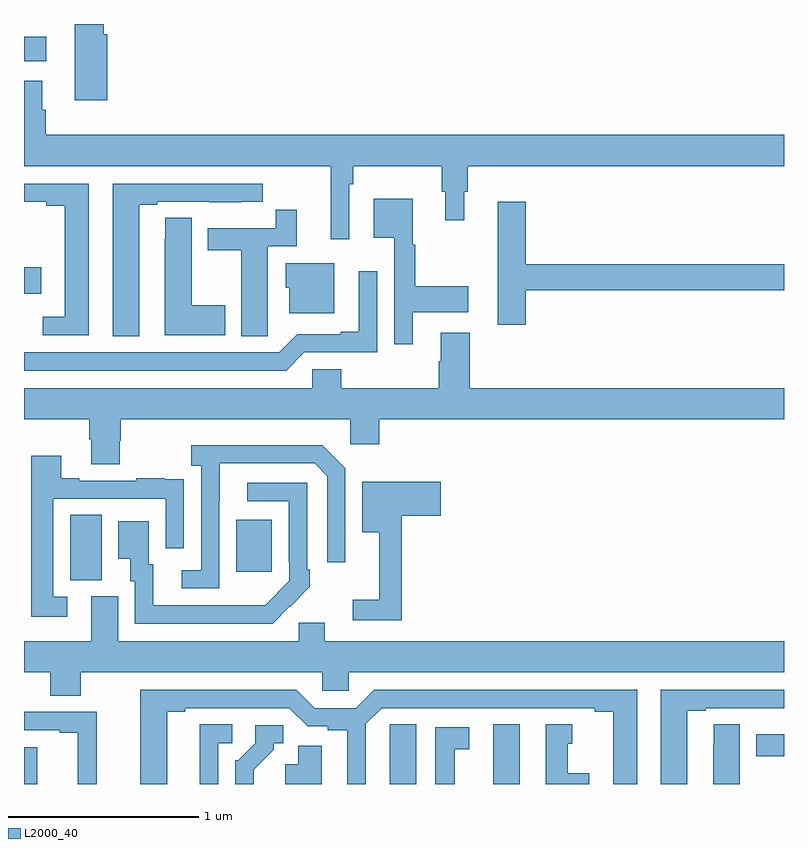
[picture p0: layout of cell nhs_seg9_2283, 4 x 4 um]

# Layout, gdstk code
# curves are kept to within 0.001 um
import gdstk
lib = gdstk.Library(unit=1e-6, precision=1e-09)
def R(c, l, rs):  # rectangles x0, y0, x1, y1
    for r in rs: c.add(gdstk.rectangle(r[:2], r[2:], *l))
def P(c, l, *ps):  # polygons
    for p in ps: c.add(gdstk.Polygon(p, *l))
L2000_40 = (2000, 40)

nhs_seg9_2283 = lib.new_cell('nhs_seg9_2283')
R(nhs_seg9_2283, L2000_40, [(241,1194.5,241.069,1194.694), (243.47,1194.5,243.61,1194.814), (244.853,1194.646,245,1194.762), (241.244,1195.573,241.408,1195.916), (242.117,1195.617,242.305,1195.891), (241,1197.08,241.09,1197.22), (241,1198.304,241.117,1198.434)])
P(nhs_seg9_2283, L2000_40, [(241.439,1198.446),(241.421,1198.446),(241.421,1198.5),(241.267,1198.5),(241.267,1198.446),(241.268,1198.446),(241.268,1198.098),(241.439,1198.098)],
  [(241,1198.201),(241,1197.752),(242.615,1197.752),(242.615,1197.366),(242.712,1197.366),(242.712,1197.656),(242.732,1197.656),(242.732,1197.752),(243.199,1197.752),(243.199,1197.618),(243.218,1197.618),(243.218,1197.468),(243.316,1197.468),(243.316,1197.618),(243.335,1197.618),(243.335,1197.752),(245,1197.752),(245,1197.916),(241.115,1197.916),(241.115,1198.05),(241.096,1198.05),(241.096,1198.201)],
  [(241.606,1197.549),(241.702,1197.549),(241.702,1197.564),(241.978,1197.564),(241.978,1197.563),(242.144,1197.563),(242.144,1197.564),(242.257,1197.564),(242.257,1197.66),(241.466,1197.66),(241.466,1196.857),(241.606,1196.857)],
  [(241.342,1197.66),(241,1197.66),(241,1197.564),(241.118,1197.564),(241.118,1197.544),(241.214,1197.544),(241.214,1196.958),(241.098,1196.958),(241.098,1196.862),(241.342,1196.862)],
  [(243.046,1196.984),(243.337,1196.984),(243.337,1197.119),(243.058,1197.119),(243.058,1197.339),(243.046,1197.339),(243.046,1197.58),(242.84,1197.58),(242.84,1197.374),(242.949,1197.374),(242.949,1196.814),(243.046,1196.814)],
  [(243.641,1197.1),(245,1197.1),(245,1197.236),(243.641,1197.236),(243.641,1197.565),(243.494,1197.565),(243.494,1196.916),(243.641,1196.916)],
  [(242.283,1196.968),(242.284,1196.968),(242.284,1197.33),(242.435,1197.33),(242.435,1197.523),(242.326,1197.523),(242.326,1197.426),(241.967,1197.426),(241.967,1197.31),(242.144,1197.31),(242.144,1196.857),(242.283,1196.857)],
  [(242.059,1197.021),(241.882,1197.021),(241.882,1197.479),(241.743,1197.479),(241.743,1197.371),(241.742,1197.371),(241.742,1196.861),(242.059,1196.861)],
  [(242.632,1197.241),(242.378,1197.241),(242.378,1197.111),(242.396,1197.111),(242.396,1196.978),(242.632,1196.978)],
  [(242.475,1196.772),(242.859,1196.772),(242.859,1197.199),(242.762,1197.199),(242.762,1196.881),(242.666,1196.881),(242.666,1196.868),(242.439,1196.868),(242.343,1196.772),(241,1196.772),(241,1196.676),(242.379,1196.676)],
  [(241.503,1196.307),(241.508,1196.307),(241.508,1196.42),(242.718,1196.42),(242.718,1196.289),(242.87,1196.289),(242.87,1196.42),(245,1196.42),(245,1196.584),(243.347,1196.584),(243.347,1196.875),(243.194,1196.875),(243.194,1196.726),(243.182,1196.726),(243.182,1196.584),(242.669,1196.584),(242.669,1196.682),(242.517,1196.682),(242.517,1196.584),(241,1196.584),(241,1196.42),(241.343,1196.42),(241.343,1196.314),(241.355,1196.314),(241.355,1196.182),(241.503,1196.182)],
  [(242.028,1195.987),(242.029,1196.187),(242.529,1196.187),(242.595,1196.121),(242.595,1195.668),(242.691,1195.668),(242.691,1196.163),(242.57,1196.284),(241.881,1196.284),(241.881,1196.174),(241.932,1196.174),(241.932,1195.626),(241.83,1195.626),(241.83,1195.53),(242.028,1195.53)],
  [(241.228,1195.485),(241.155,1195.485),(241.155,1196.001),(241.746,1196.001),(241.746,1195.74),(241.842,1195.74),(241.842,1195.994),(241.841,1195.994),(241.841,1196.103),(241.739,1196.103),(241.739,1196.11),(241.591,1196.11),(241.591,1196.097),(241.291,1196.097),(241.291,1196.11),(241.195,1196.11),(241.195,1196.227),(241.039,1196.227),(241.039,1195.38),(241.228,1195.38)],
  [(242.987,1195.913),(243.193,1195.913),(243.193,1196.091),(242.78,1196.091),(242.78,1195.826),(242.87,1195.826),(242.87,1195.471),(242.73,1195.471),(242.73,1195.362),(242.987,1195.362)],
  [(242.399,1195.435),(242.4,1195.434),(242.505,1195.539),(242.505,1195.627),(242.49,1195.627),(242.49,1196.085),(242.175,1196.085),(242.175,1195.989),(242.394,1195.989),(242.394,1195.669),(242.397,1195.669),(242.397,1195.569),(242.269,1195.441),(241.681,1195.44),(241.681,1195.656),(241.657,1195.656),(241.657,1195.882),(241.496,1195.882),(241.496,1195.685),(241.559,1195.685),(241.559,1195.566),(241.584,1195.566),(241.584,1195.344),(242.308,1195.344)],
  [(241.299,1195.088),(242.571,1195.088),(242.571,1194.99),(242.709,1194.99),(242.709,1195.088),(245,1195.088),(245,1195.252),(242.584,1195.252),(242.584,1195.35),(242.445,1195.35),(242.445,1195.252),(241.495,1195.252),(241.495,1195.488),(241.355,1195.488),(241.355,1195.252),(241,1195.252),(241,1195.088),(241.139,1195.088),(241.139,1194.964),(241.299,1194.964)],
  [(241.753,1194.88),(241.849,1194.88),(241.849,1194.9),(242.397,1194.9),(242.493,1194.804),(242.598,1194.804),(242.598,1194.784),(242.702,1194.784),(242.702,1194.5),(242.799,1194.5),(242.799,1194.816),(242.883,1194.9),(244.004,1194.9),(244.004,1194.88),(244.1,1194.88),(244.1,1194.5),(244.228,1194.5),(244.228,1194.996),(242.843,1194.996),(242.747,1194.9),(242.529,1194.9),(242.433,1194.996),(241.613,1194.996),(241.613,1194.5),(241.753,1194.5)],
  [(244.492,1194.885),(244.588,1194.885),(244.588,1194.9),(244.864,1194.9),(244.864,1194.899),(245,1194.899),(245,1194.996),(244.352,1194.996),(244.352,1194.5),(244.492,1194.5)],
  [(241.383,1194.879),(241,1194.879),(241,1194.783),(241.187,1194.783),(241.187,1194.771),(241.283,1194.771),(241.283,1194.5),(241.383,1194.5)],
  [(243.064,1194.815),(242.925,1194.815),(242.925,1194.707),(242.924,1194.707),(242.924,1194.5),(243.064,1194.5)],
  [(244.768,1194.815),(244.629,1194.815),(244.629,1194.707),(244.628,1194.707),(244.628,1194.5),(244.768,1194.5)],
  [(242.022,1194.714),(242.095,1194.714),(242.095,1194.815),(241.925,1194.815),(241.925,1194.5),(242.022,1194.5)],
  [(243.976,1194.556),(243.862,1194.556),(243.862,1194.711),(243.886,1194.711),(243.886,1194.814),(243.746,1194.814),(243.746,1194.5),(243.976,1194.5)],
  [(242.209,1194.574),(242.314,1194.679),(242.314,1194.714),(242.364,1194.714),(242.364,1194.81),(242.217,1194.81),(242.217,1194.714),(242.127,1194.624),(242.112,1194.624),(242.112,1194.5),(242.209,1194.5)],
  [(243.268,1194.682),(243.343,1194.682),(243.343,1194.798),(243.164,1194.798),(243.164,1194.5),(243.268,1194.5)],
  [(242.566,1194.702),(242.444,1194.702),(242.444,1194.604),(242.375,1194.604),(242.375,1194.5),(242.566,1194.5)])

lib.write_gds('nhs_seg9_2283.gds')
